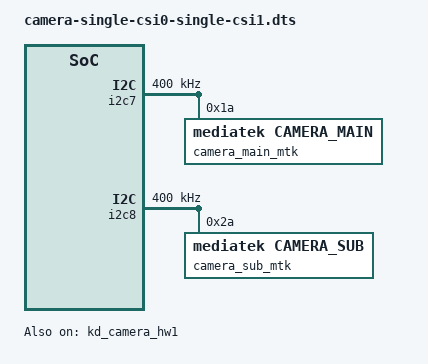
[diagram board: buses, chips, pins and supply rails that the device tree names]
// SPDX-License-Identifier: GPL-2.0-only
/*
 * Copyright (c) 2026 MediaTek Inc.
 *
 * Camera GPIO standardization
 */

/dts-v1/;
/plugin/;

#include "camera-common.dtsi"

/ {
	fragment@25 {
		target-path = "/soc";
		__overlay__ {
			kd_camera_hw1:kd-camera-hw1@1a003000 {
				compatible = "mediatek,imgsensor";
				reg = <0 0x1a003000 0 0x1000>;
				pinctrl-names = "default",
					"cam0_pnd0", "cam0_pnd1",
					"cam1_pnd0", "cam1_pnd1",
					"cam0_mclk_off",
					"cam0_mclk_2mA", "cam0_mclk_4mA",
					"cam0_mclk_6mA", "cam0_mclk_8mA",
					"cam1_mclk_off",
					"cam1_mclk_2mA", "cam1_mclk_4mA",
					"cam1_mclk_6mA", "cam1_mclk_8mA";
				pinctrl-0 = <&camera_pins_default>;
				pinctrl-1 = <&cam_port0_pnd_0>;
				pinctrl-2 = <&cam_port0_pnd_1>;
				pinctrl-3 = <&cam_port1_pnd_0>;
				pinctrl-4 = <&cam_port1_pnd_1>;

				pinctrl-5 = <&cam_port0_mclk_off>;
				pinctrl-6 = <&cam_port0_mclk_2ma>;
				pinctrl-7 = <&cam_port0_mclk_4ma>;
				pinctrl-8 = <&cam_port0_mclk_6ma>;
				pinctrl-9 = <&cam_port0_mclk_8ma>;

				pinctrl-10 = <&cam_port1_mclk_off>;
				pinctrl-11 = <&cam_port1_mclk_2ma>;
				pinctrl-12 = <&cam_port1_mclk_4ma>;
				pinctrl-13 = <&cam_port1_mclk_6ma>;
				pinctrl-14 = <&cam_port1_mclk_8ma>;

				cam0-pin-mclk = "mclk";
				cam0-pin-pdn = "gpio";
				cam0-pin-vcama = "regulator";
				cam0-vcama-supply = <&mt6359_vcamio_ldo_reg>;

				cam1-pin-mclk = "mclk";
				cam1-pin-pdn = "gpio";
				cam1-pin-vcama = "regulator";
				cam1-vcama-supply = <&mt6359_vcamio_ldo_reg>;

				status = "okay";
			};
		};
	};

	fragment@26 {
		target = <&i2c7>;
		__overlay__ {
			status = "okay";
			pinctrl-names = "default";
			pinctrl-0 = <&i2c7_pins>;
			clock-frequency = <400000>;
			camera_main_mtk:camera-main@1a {
				compatible = "mediatek,camera_main";
				#thermal-sensor-cells = <0>;
				reg = <0x1a>;
				status = "okay";
				mclk-index  = <0>;   /* CMMCLK0 */
				csi-port    = <0>;
			};
		};
	};

	fragment@27 {
		target = <&i2c8>;
		__overlay__ {
			status = "okay";
			pinctrl-names = "default";
			pinctrl-0 = <&i2c8_pins>;
			clock-frequency = <400000>;

			camera_sub_mtk:camera-sub@2a {
				compatible = "mediatek,camera_sub";
				#thermal-sensor-cells = <0>;
				reg = <0x2a>;
				status = "okay";
				mclk-index  = <1>;   /* CMMCLK1 */
				csi-port    = <1>;
			};
		};
	};
};

/* CAMERA EEPROM end */
